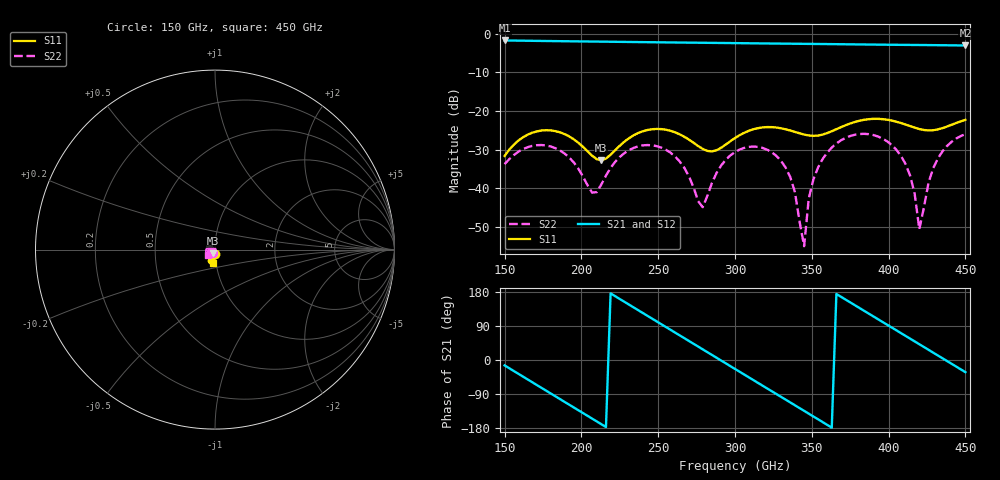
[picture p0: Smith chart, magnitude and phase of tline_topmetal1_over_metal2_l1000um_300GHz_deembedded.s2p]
! Created with skrf 2.0.1 (http://scikit-rf.org).
# GHz S DB R 50.0
!freq dBS11 angS11 dBS21 angS21 dBS12 angS12 dBS22 angS22
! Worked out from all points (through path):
!   101 points, 150 GHz to 450 GHz, reference 50 ohm
!   highest |S21| = -1.78 dB at 150 GHz (marker M1); lowest = -3.1 dB at 450 GHz (marker M2)
!   group delay of S21, straight-line fit = 6.83 ps
!   lowest |S11| = -32.7 dB at 213 GHz (marker M3), VSWR 1.05, Z = 48.9 - j1.98 ohm
!   |S11| at or under -10 dB: start of sweep to end of sweep
!   |S22| runs from -54.9 to -25.9 dB; largest |S21 - S12| = 9.1e-14
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150  -31.60 -86.6  -1.78 -14.3  -1.78 -14.3  -33.75 -122.0
177  -24.98 -119.1  -1.92 -80.9  -1.92 -80.9  -28.92 -163.7
201  -29.27 -144.9  -2.03 -139.9  -2.03 -139.9  -36.92 165.2
207  -31.57 -137.7  -2.06 -154.7  -2.06 -154.7  -41.10 -169.8
213  -32.75 -118.3  -2.08 -169.5  -2.08 -169.5  -38.98 -129.4
231  -27.04 -95.0  -2.17 146.2  -2.17 146.2  -30.12 -138.0
252  -24.69 -119.3  -2.27 94.5  -2.27 94.5  -29.47 178.4
267  -26.67 -133.5  -2.33 57.6  -2.33 57.6  -34.71 151.6
279  -29.81 -126.2  -2.38 28.1  -2.38 28.1  -44.87 -155.9
300  -26.99 -91.7  -2.47 -23.6  -2.47 -23.6  -30.61 -136.8
330  -24.47 -112.9  -2.60 -97.3  -2.60 -97.3  -32.92 152.5
339  -25.41 -115.2  -2.63 -119.4  -2.63 -119.4  -40.93 128.7
345  -26.10 -112.6  -2.65 -134.2  -2.65 -134.2  -54.95 -49.8
348  -26.33 -110.0  -2.67 -141.5  -2.67 -141.5  -42.69 -67.7
351  -26.43 -106.8  -2.68 -148.9  -2.68 -148.9  -37.76 -76.6
372  -23.69 -94.9  -2.77 159.4  -2.77 159.4  -26.95 -130.8
402  -22.48 -116.7  -2.89 85.8  -2.89 85.8  -28.78 151.7
414  -23.92 -119.6  -2.93 56.4  -2.93 56.4  -36.69 115.2
420  -24.66 -116.5  -2.95 41.6  -2.95 41.6  -50.54 51.1
426  -25.03 -110.6  -2.98 26.9  -2.98 26.9  -38.53 -73.0
432  -24.78 -104.0  -3.00 12.1  -3.00 12.1  -32.33 -94.7
450  -22.30 -100.1  -3.08 -32.1  -3.08 -32.1  -26.01 -144.2
